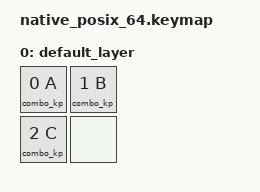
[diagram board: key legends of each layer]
#include <dt-bindings/zmk/keys.h>
#include <behaviors.dtsi>
#include <dt-bindings/zmk/kscan_mock.h>

/*
    combo 0 timeout inf
    combo 01 timeout inf
    combo 0123 timeout inf
    press 012 in any combination, release any of those keys
    expected: combo 012 on key-release
 */

/* it is useful to set timeout to a large value when attaching a debugger. */
#define TIMEOUT (60*60*1000)

/ {
    combos {
        compatible = "zmk,combos";
        combo_one {
            timeout-ms = <TIMEOUT>;
            triggers = <0 1 2>;
            bindings = <&kp X>;
        };

        combo_two {
            timeout-ms = <TIMEOUT>;
            triggers = <0 2>;
            bindings = <&kp Y>;
        };

        combo_three {
            timeout-ms = <TIMEOUT>;
            triggers = <1>;
            bindings = <&kp Z>;
        };
    };

    keymap {
        compatible = "zmk,keymap";

        default_layer {
            bindings = <
                &combo_kp 0 A &combo_kp 1 B
                &combo_kp 2 C &none
            >;
        };
    };
};
&kscan {
    events = <
        /* all permutations of combo one press, combo triggered by release */
        /* while debugging these, you may want to set the release_timer to a high number */
        ZMK_MOCK_PRESS(0,0,10)
        ZMK_MOCK_PRESS(0,1,10)
        ZMK_MOCK_PRESS(0,2,10)
        ZMK_MOCK_RELEASE(0,0,10)
        ZMK_MOCK_RELEASE(0,1,10)
        ZMK_MOCK_RELEASE(0,2,10)

        ZMK_MOCK_PRESS(0,0,10)
        ZMK_MOCK_PRESS(0,2,10)
        ZMK_MOCK_PRESS(0,1,10)
        ZMK_MOCK_RELEASE(0,0,10)
        ZMK_MOCK_RELEASE(0,2,10)
        ZMK_MOCK_RELEASE(0,1,10)

        ZMK_MOCK_PRESS(0,1,10)
        ZMK_MOCK_PRESS(0,0,10)
        ZMK_MOCK_PRESS(0,2,10)
        ZMK_MOCK_RELEASE(0,1,10)
        ZMK_MOCK_RELEASE(0,0,10)
        ZMK_MOCK_RELEASE(0,2,10)

        ZMK_MOCK_PRESS(0,1,10)
        ZMK_MOCK_PRESS(0,2,10)
        ZMK_MOCK_PRESS(0,0,10)
        ZMK_MOCK_RELEASE(0,1,10)
        ZMK_MOCK_RELEASE(0,2,10)
        ZMK_MOCK_RELEASE(0,0,10)

        ZMK_MOCK_PRESS(0,2,10)
        ZMK_MOCK_PRESS(0,0,10)
        ZMK_MOCK_PRESS(0,1,10)
        ZMK_MOCK_RELEASE(0,2,10)
        ZMK_MOCK_RELEASE(0,0,10)
        ZMK_MOCK_RELEASE(0,1,10)

        ZMK_MOCK_PRESS(0,2,10)
        ZMK_MOCK_PRESS(0,1,10)
        ZMK_MOCK_PRESS(0,0,10)
        ZMK_MOCK_RELEASE(0,2,10)
        ZMK_MOCK_RELEASE(0,1,10)
        ZMK_MOCK_RELEASE(0,0,10)

        /* all permutations of combo two press and release, combo triggered by release */
        ZMK_MOCK_PRESS(0,0,10)
        ZMK_MOCK_PRESS(0,2,10)
        ZMK_MOCK_RELEASE(0,0,10)
        ZMK_MOCK_RELEASE(0,2,10)

        ZMK_MOCK_PRESS(0,2,10)
        ZMK_MOCK_PRESS(0,0,10)
        ZMK_MOCK_RELEASE(0,2,10)
        ZMK_MOCK_RELEASE(0,0,10)

        ZMK_MOCK_PRESS(0,2,10)
        ZMK_MOCK_PRESS(0,0,10)
        ZMK_MOCK_RELEASE(0,0,10)
        ZMK_MOCK_RELEASE(0,2,10)

        ZMK_MOCK_PRESS(0,0,10)
        ZMK_MOCK_PRESS(0,2,10)
        ZMK_MOCK_RELEASE(0,2,10)
        ZMK_MOCK_RELEASE(0,0,10)
    >;
};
